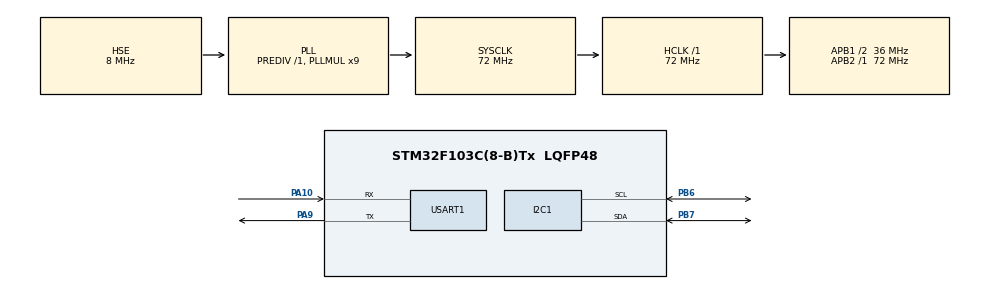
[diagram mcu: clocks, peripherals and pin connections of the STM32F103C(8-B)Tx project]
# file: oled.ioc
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I2C1.I2C_Mode=I2C_Fast
Mcu.Family=STM32F1
Mcu.Name=STM32F103C(8-B)Tx
Mcu.Package=LQFP48
NVIC.PriorityGroup=NVIC_PRIORITYGROUP_4
NVIC.USART1_IRQn=true\:0\:0\:false\:false\:true\:true\:true\:true
PA10.Mode=Asynchronous
PA10.Signal=USART1_RX
PA13.Mode=Serial_Wire
PA13.Signal=SYS_JTMS-SWDIO
PA14.Mode=Serial_Wire
PA14.Signal=SYS_JTCK-SWCLK
PA9.Mode=Asynchronous
PA9.Signal=USART1_TX
PB6.Mode=I2C
PB6.Signal=I2C1_SCL
PB7.Mode=I2C
PB7.Signal=I2C1_SDA
PD0-OSC_IN.Mode=HSE-External-Oscillator
PD0-OSC_IN.Signal=RCC_OSC_IN
PD1-OSC_OUT.Mode=HSE-External-Oscillator
PD1-OSC_OUT.Signal=RCC_OSC_OUT
ProjectManager.HeapSize=0x200
ProjectManager.StackSize=0x400
ProjectManager.TargetToolchain=Makefile
RCC.AHBFreq_Value=72000000
RCC.APB1CLKDivider=RCC_HCLK_DIV2
RCC.APB1Freq_Value=36000000
RCC.APB1TimFreq_Value=72000000
RCC.APB2Freq_Value=72000000
RCC.APB2TimFreq_Value=72000000
RCC.HCLKFreq_Value=72000000
RCC.PLLMUL=RCC_PLL_MUL9
RCC.PLLSourceVirtual=RCC_PLLSOURCE_HSE
RCC.SYSCLKFreq_VALUE=72000000
RCC.SYSCLKSource=RCC_SYSCLKSOURCE_PLLCLK
RCC.USBFreq_Value=72000000
USART1.VirtualMode=VM_ASYNC
board=custom

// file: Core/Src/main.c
/* USER CODE BEGIN Header */
/**
  ******************************************************************************
  * @file           : main.c
  * @brief          : Main program body
  ******************************************************************************
  * @attention
  *
  * Copyright (c) 2026 STMicroelectronics.
  * All rights reserved.
  *
  * This software is licensed under terms that can be found in the LICENSE file
  * in the root directory of this software component.
  * If no LICENSE file comes with this software, it is provided AS-IS.
  *
  ******************************************************************************
  */
/* USER CODE END Header */
#include "main.h"
#include "i2c.h"
#include "usart.h"
#include "gpio.h"

/* USER CODE BEGIN Includes */
 #include "OLED.h"
 #include <string.h>
 #include <math.h>
/* USER CODE END Includes */

void SystemClock_Config(void);

/* USER CODE BEGIN 0 */
volatile float pi=3.14159f;
uint8_t t=0;
float wave;
volatile uint8_t data=0;
volatile uint8_t num='1';
 void Vofa_JustFloat(float *a, uint8_t b) {
    uint8_t s1[64];
    uint8_t end[4] = {0, 0, 0x80, 0x7F};
    memcpy(s1, (uint8_t *)a, sizeof(float) * b);
    memcpy(s1 + b * 4, end, 4);
    HAL_UART_Transmit(&huart1, s1, (b + 1) * 4, 100);}
/* USER CODE END 0 */

int main(void)
{

  /* MCU Configuration--------------------------------------------------------*/

  /* Reset of all peripherals, Initializes the Flash interface and the Systick. */
  HAL_Init();

  /* Configure the system clock */
  SystemClock_Config();

  /* Initialize all configured peripherals */
  MX_GPIO_Init();
  MX_I2C1_Init();
  MX_USART1_UART_Init();
  /* USER CODE BEGIN 2 */
   OLED_init();
   OLED_display_on();
   OLED_operate_gram(PEN_CLEAR);
   OLED_LOGO();
   OLED_refresh_gram();
   HAL_Delay(1000);
   HAL_UART_Receive_IT(&huart1, (uint8_t *)&data, 1);
  /* USER CODE END 2 */

  /* Infinite loop */
  while (1)
  {

    /* USER CODE BEGIN 3 */
       static uint8_t last_num = '5';

    if (num != last_num) {
        last_num = num;
      OLED_operate_gram(PEN_CLEAR);
      if (num == '1') OLED_show_string(0, 0, (uint8_t *)"Sine");
      else if (num == '2') OLED_show_string(0, 0, (uint8_t *)"Sawtooth");
      else if (num == '3') OLED_show_string(0, 0, (uint8_t *)"Square ");
      OLED_refresh_gram();
  }
    if(num=='1'){
    wave=2.0f*sinf(2*pi*(float)t/100.0f);
    t+=1;
    if(t>=100)t=0;}
    else if (num == '2') {

      float phase = (float)t / 50.0f;
      wave = -1.0f + 2.0f * phase;
      t++; if (t >= 50) t = 0;
  }
  else if (num == '3') {

      if (t < 75) wave = 0.5f;
      else wave = -0.5f;
      t++; if (t >= 150) t = 0;
  }
    Vofa_JustFloat(&wave,1);
    HAL_Delay(10);

  }
  /* USER CODE END 3 */
}

void SystemClock_Config(void)
{
  RCC_OscInitTypeDef RCC_OscInitStruct = {0};
  RCC_ClkInitTypeDef RCC_ClkInitStruct = {0};

  /** Initializes the RCC Oscillators according to the specified parameters
  * in the RCC_OscInitTypeDef structure.
  */
  RCC_OscInitStruct.OscillatorType = RCC_OSCILLATORTYPE_HSE;
  RCC_OscInitStruct.HSEState = RCC_HSE_ON;
  RCC_OscInitStruct.HSEPredivValue = RCC_HSE_PREDIV_DIV1;
  RCC_OscInitStruct.HSIState = RCC_HSI_ON;
  RCC_OscInitStruct.PLL.PLLState = RCC_PLL_ON;
  RCC_OscInitStruct.PLL.PLLSource = RCC_PLLSOURCE_HSE;
  RCC_OscInitStruct.PLL.PLLMUL = RCC_PLL_MUL9;
  if (HAL_RCC_OscConfig(&RCC_OscInitStruct) != HAL_OK)
  {
    Error_Handler();
  }

  /** Initializes the CPU, AHB and APB buses clocks
  */
  RCC_ClkInitStruct.ClockType = RCC_CLOCKTYPE_HCLK|RCC_CLOCKTYPE_SYSCLK
                              |RCC_CLOCKTYPE_PCLK1|RCC_CLOCKTYPE_PCLK2;
  RCC_ClkInitStruct.SYSCLKSource = RCC_SYSCLKSOURCE_PLLCLK;
  RCC_ClkInitStruct.AHBCLKDivider = RCC_SYSCLK_DIV1;
  RCC_ClkInitStruct.APB1CLKDivider = RCC_HCLK_DIV2;
  RCC_ClkInitStruct.APB2CLKDivider = RCC_HCLK_DIV1;

  if (HAL_RCC_ClockConfig(&RCC_ClkInitStruct, FLASH_LATENCY_2) != HAL_OK)
  {
    Error_Handler();
  }
}

/* USER CODE BEGIN 4 */
void HAL_UART_RxCpltCallback(UART_HandleTypeDef *huart) {
    if (huart == &huart1) {
        if (data == '1' || data == '2' || data == '3') {
            num = data;
        }
        HAL_UART_Receive_IT(&huart1, (uint8_t *)&data, 1);
    }
}

/* USER CODE END 4 */

void Error_Handler(void)
{
  __disable_irq();
  while (1)
  {
  }
}
